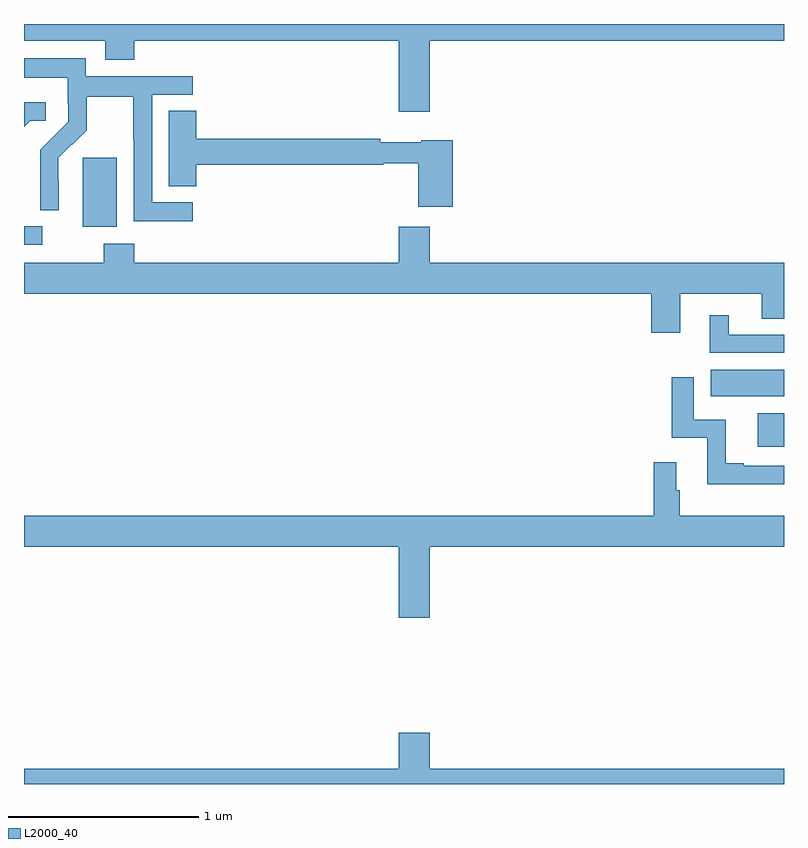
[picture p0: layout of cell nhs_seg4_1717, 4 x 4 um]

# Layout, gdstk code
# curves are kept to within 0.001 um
import gdstk
lib = gdstk.Library(unit=1e-6, precision=1e-09)
def R(c, l, rs):  # rectangles x0, y0, x1, y1
    for r in rs: c.add(gdstk.rectangle(r[:2], r[2:], *l))
def P(c, l, *ps):  # polygons
    for p in ps: c.add(gdstk.Polygon(p, *l))
L2000_40 = (2000, 40)

nhs_seg4_1717 = lib.new_cell('nhs_seg4_1717')
R(nhs_seg4_1717, L2000_40, [(202.862,802.676,203,802.852), (202.614,802.94,203,803.08), (199,803.739,199.096,803.835), (199.31,803.834,199.489,804.195)])
P(nhs_seg4_1717, L2000_40, [(201.136,804.812),(203,804.812),(203,804.9),(199,804.9),(199,804.812),(199.427,804.812),(199.427,804.713),(199.58,804.713),(199.58,804.812),(200.972,804.812),(200.972,804.438),(201.136,804.438)],
  [(199.888,803.961),(199.674,803.961),(199.674,804.528),(199.888,804.528),(199.888,804.624),(199.326,804.624),(199.326,804.721),(199,804.721),(199,804.617),(199.23,804.617),(199.23,804.483),(199.232,804.483),(199.232,804.386),(199.086,804.238),(199.086,803.92),(199.182,803.92),(199.181,804.197),(199.251,804.267),(199.254,804.264),(199.331,804.341),(199.331,804.516),(199.576,804.516),(199.576,804.292),(199.578,804.292),(199.578,803.863),(199.888,803.863)],
  [(199.032,804.39),(199.114,804.39),(199.114,804.487),(199,804.487),(199,804.358)],
  [(201.257,804.289),(201.09,804.289),(201.09,804.277),(200.876,804.277),(200.876,804.296),(199.907,804.296),(199.907,804.443),(199.763,804.443),(199.763,804.046),(199.907,804.046),(199.907,804.16),(200.89,804.16),(200.89,804.168),(201.074,804.168),(201.074,803.937),(201.257,803.937)],
  [(202.453,803.48),(202.883,803.48),(202.883,803.35),(203,803.35),(203,803.644),(201.136,803.644),(201.136,803.833),(200.972,803.833),(200.972,803.644),(199.58,803.644),(199.58,803.743),(199.42,803.743),(199.42,803.644),(199,803.644),(199,803.48),(202.301,803.48),(202.301,803.274),(202.453,803.274)],
  [(203,803.265),(202.708,803.265),(202.708,803.368),(202.61,803.368),(202.61,803.169),(203,803.169)],
  [(203,802.575),(202.789,802.575),(202.789,802.588),(202.693,802.588),(202.693,802.818),(202.524,802.818),(202.524,803.041),(202.408,803.041),(202.408,802.722),(202.595,802.722),(202.595,802.478),(203,802.478)],
  [(203,802.312),(202.451,802.312),(202.451,802.445),(202.432,802.445),(202.432,802.594),(202.315,802.594),(202.315,802.312),(199,802.312),(199,802.148),(200.972,802.148),(200.972,801.774),(201.136,801.774),(201.136,802.148),(203,802.148)],
  [(203,800.98),(201.136,800.98),(201.136,801.169),(200.972,801.169),(200.972,800.98),(199,800.98),(199,800.9),(203,800.9)])

lib.write_gds('nhs_seg4_1717.gds')
